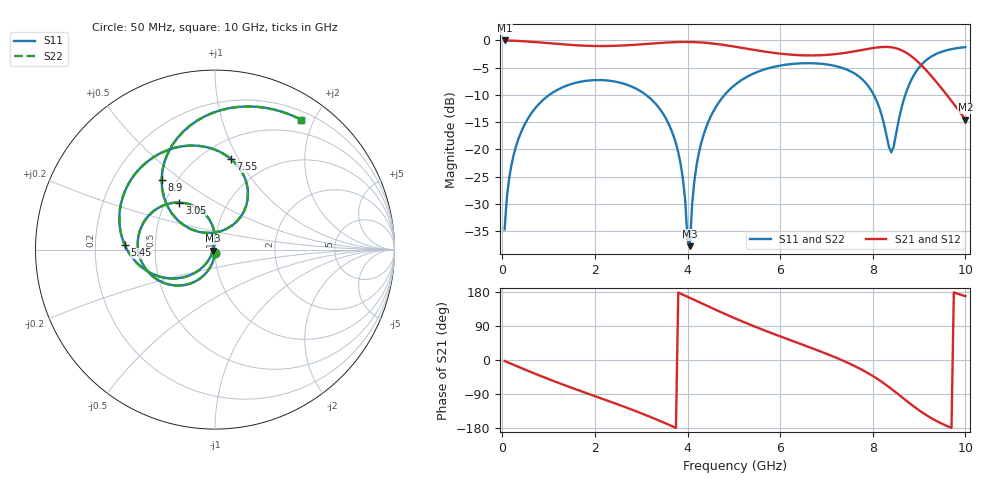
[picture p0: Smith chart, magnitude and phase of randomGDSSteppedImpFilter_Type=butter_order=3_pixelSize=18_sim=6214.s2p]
! freq	dB(S11)	phase(S11)	dB(S12)	phase(S12)
!  dB(S21)	phase(S21)	dB(S22)	phase(S22)
!S-par simulation data
#  GHz  S  DB  R 50
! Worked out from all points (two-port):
!   200 points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, 50 MHz to 10 GHz, reference 50 ohm
!   highest |S21| = 0.00 dB at 50 MHz (marker M1); lowest = -14.5 dB at 10 GHz (marker M2)
!   |S21| within 3 dB of the highest: start of sweep to 8.85 GHz
!   lowest |S11| = -37.7 dB at 4.05 GHz (marker M3), VSWR 1.03, Z = 48.8 - j0.548 ohm
!   |S11| at or under -10 dB: start of sweep to 1.014 GHz; 3.105 GHz to 4.8 GHz (1.695 GHz wide, 42.9 % of centre); 8.022 GHz to 8.702 GHz (679.7 MHz wide, 8.13 % of centre)
!   |S22| runs from -38.1 to -1.2 dB; largest |S21 - S12| = 0
!   S11 on the Smith chart (normalised r, x): 50 MHz: 1.00, -0.04; 3.05 GHz: 0.59, +0.35; 5.45 GHz: 0.33, +0.02; 7.55 GHz: 0.68, +0.93; 8.9 GHz: 0.41, +0.43; 10 GHz: 0.31, +1.82
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0.05  -34.68 -92.7  -0.00 -2.7  -0.00 -2.7  -34.68 -92.7
0.2  -22.75 -100.9  -0.04 -10.5  -0.04 -10.5  -22.75 -100.9
0.5  -15.14 -116.4  -0.17 -25.9  -0.17 -25.9  -15.14 -116.4
1.1  -9.51 -145.7  -0.58 -55.1  -0.58 -55.1  -9.51 -145.7
1.75  -7.49 -175.0  -0.96 -84.5  -0.96 -84.5  -7.49 -175.0
3.05  -9.66 127.1  -0.69 -143.0  -0.69 -143.0  -9.66 127.1
3.4  -12.55 110.2  -0.47 -160.5  -0.47 -160.5  -12.55 110.1
3.8  -20.55 92.0  -0.30 178.0  -0.30 178.0  -20.55 91.6
4  -36.63 114.1  -0.28 166.9  -0.28 166.9  -36.84 112.0
4.05  -37.74 -154.4  -0.29 164.1  -0.29 164.1  -38.06 -152.6
4.15  -25.59 -121.6  -0.31 158.4  -0.31 158.4  -25.61 -120.9
4.3  -18.68 -125.0  -0.38 149.9  -0.38 149.9  -18.69 -124.7
5.05  -7.97 -163.0  -1.18 108.6  -1.18 108.6  -7.98 -162.8
5.45  -5.98 177.3  -1.76 88.4  -1.76 88.4  -5.98 177.4
6.7  -4.19 120.8  -2.75 30.6  -2.75 30.6  -4.19 120.9
7.55  -5.80 80.1  -2.08 -12.5  -2.08 -12.5  -5.80 80.2
8.05  -10.46 54.5  -1.34 -45.9  -1.34 -45.9  -10.45 54.7
8.35  -19.55 73.9  -1.21 -71.4  -1.21 -71.4  -19.49 74.2
8.45  -19.52 118.8  -1.33 -80.7  -1.33 -80.7  -19.46 118.6
8.9  -6.18 127.3  -3.35 -123.9  -3.35 -123.9  -6.18 127.3
9.4  -2.37 91.1  -7.89 -162.5  -7.89 -162.5  -2.37 91.1
10  -1.23 56.6  -14.54 168.6  -14.54 168.6  -1.23 56.6
